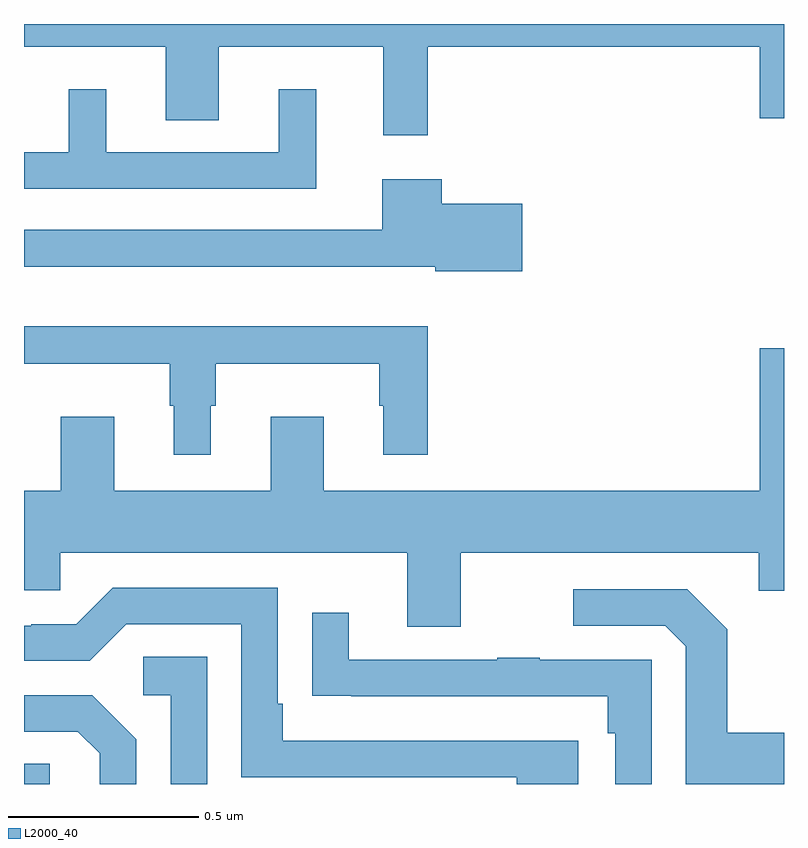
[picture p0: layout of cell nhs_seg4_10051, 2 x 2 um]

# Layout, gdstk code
import gdstk
lib = gdstk.Library(unit=1e-6, precision=1e-09)
def R(c, l, rs):  # rectangles x0, y0, x1, y1
    for r in rs: c.add(gdstk.rectangle(r[:2], r[2:], *l))
def P(c, l, *ps):  # polygons
    for p in ps: c.add(gdstk.Polygon(p, *l))
L2000_40 = (2000, 40)

nhs_seg4_10051 = lib.new_cell('nhs_seg4_10051')
R(nhs_seg4_10051, L2000_40, [(235,774.9,235.068,774.953)])
P(nhs_seg4_10051, L2000_40, [(236.063,776.84),(236.936,776.84),(236.936,776.652),(237,776.652),(237,776.9),(235,776.9),(235,776.84),(235.373,776.84),(235.373,776.647),(235.513,776.647),(235.513,776.84),(235.946,776.84),(235.946,776.607),(236.063,776.607)],
  [(235.769,776.728),(235.67,776.728),(235.67,776.562),(235.216,776.562),(235.216,776.728),(235.118,776.728),(235.118,776.562),(235,776.562),(235,776.466),(235.769,776.466)],
  [(236.311,776.427),(236.099,776.427),(236.099,776.491),(235.943,776.491),(235.943,776.358),(235,776.358),(235,776.261),(236.082,776.261),(236.082,776.249),(236.311,776.249)],
  [(235.492,775.895),(235.504,775.895),(235.504,776.006),(235.935,776.006),(235.935,775.895),(235.946,775.895),(235.946,775.767),(236.063,775.767),(236.063,776.104),(235,776.104),(235,776.006),(235.383,776.006),(235.383,775.895),(235.394,775.895),(235.394,775.767),(235.492,775.767)],
  [(236.149,775.508),(236.933,775.508),(236.933,775.409),(237,775.409),(237,776.047),(236.936,776.047),(236.936,775.672),(235.789,775.672),(235.789,775.867),(235.649,775.867),(235.649,775.672),(235.237,775.672),(235.237,775.867),(235.097,775.867),(235.097,775.672),(235,775.672),(235,775.41),(235.095,775.41),(235.095,775.508),(236.009,775.508),(236.009,775.314),(236.149,775.314)],
  [(236.458,775.014),(235.681,775.014),(235.681,775.111),(235.668,775.111),(235.668,775.416),(235.233,775.416),(235.137,775.32),(235.019,775.32),(235.019,775.317),(235,775.317),(235,775.224),(235.173,775.224),(235.269,775.32),(235.572,775.32),(235.572,774.918),(236.297,774.918),(236.297,774.9),(236.458,774.9)],
  [(237,775.035),(236.851,775.035),(236.851,775.307),(236.745,775.413),(236.445,775.413),(236.445,775.317),(236.688,775.317),(236.742,775.263),(236.742,774.9),(237,774.9)],
  [(236.652,775.227),(236.357,775.227),(236.357,775.232),(236.245,775.232),(236.245,775.227),(235.855,775.227),(235.855,775.351),(235.759,775.351),(235.759,775.132),(235.861,775.132),(235.861,775.131),(236.536,775.131),(236.536,775.034),(236.556,775.034),(236.556,774.9),(236.652,774.9)],
  [(235.482,775.235),(235.314,775.235),(235.314,775.134),(235.386,775.134),(235.386,774.9),(235.482,774.9)],
  [(235.296,775.018),(235.18,775.134),(235,775.134),(235,775.038),(235.142,775.038),(235.199,774.981),(235.199,774.9),(235.296,774.9)])

lib.write_gds('nhs_seg4_10051.gds')
